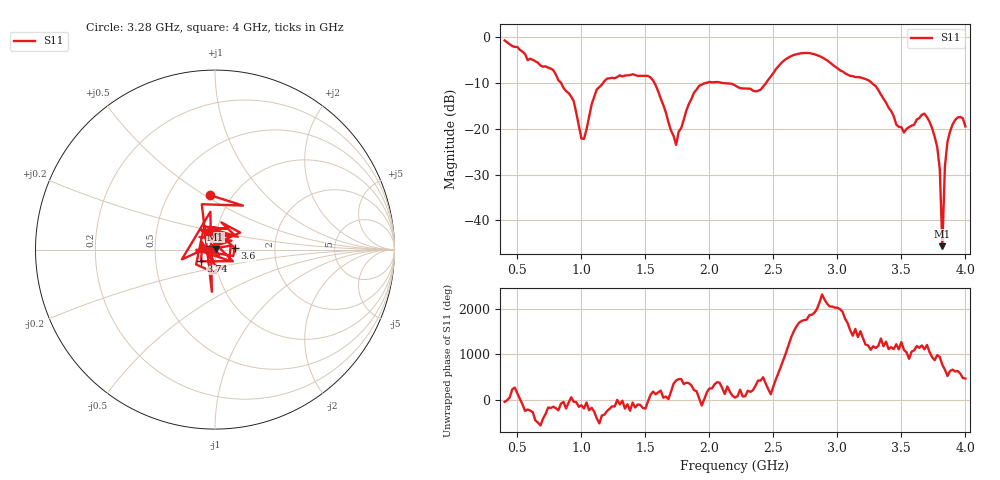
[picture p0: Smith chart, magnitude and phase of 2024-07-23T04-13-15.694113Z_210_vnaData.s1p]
!Created with skrf (http://scikit-rf.org).
# Hz S RI R 50.0
!freq ReS11 ImS11
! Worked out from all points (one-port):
!   181 points, 400 MHz to 4 GHz, reference 50 ohm
!   lowest |S11| = -45.6 dB at 3.82 GHz (marker M1), VSWR 1.01, Z = 50.3 + j0.399 ohm
!   |S11| at or under -10 dB: 1.57 GHz to 1.98 GHz (410.6 MHz wide, 23.1 % of centre); 2.092 GHz to 2.443 GHz (351 MHz wide, 15.5 % of centre); 3.268 GHz to end of sweep (the widest 3 of 4)
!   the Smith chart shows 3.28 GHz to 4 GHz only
!   S11 on the Smith chart (normalised r, x): 3.28 GHz: 0.79, +0.53; 3.6 GHz: 1.25, +0.03; 3.74 GHz: 0.85, -0.11; 4 GHz: 0.92, +0.19
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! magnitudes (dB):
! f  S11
! 400 MHz  -0.8
! 780 MHz  -7.2
! 860 MHz  -11.1
! 940 MHz  -14.0
! 1 GHz  -22.1
! 1.02 GHz  -22.2
! 1.12 GHz  -11.4
! 1.3 GHz  -8.4
! 1.54 GHz  -8.8
! 1.74 GHz  -23.5
! 1.76 GHz  -20.7
! 1.92 GHz  -10.7
! 2.2 GHz  -10.6
! 2.4 GHz  -11.5
! 2.66 GHz  -3.9
! 3.1 GHz  -8.5
! 3.28 GHz  -10.3
! 3.46 GHz  -19.1
! 3.56 GHz  -19.7
! 3.6 GHz  -19.1
! 3.68 GHz  -16.7
! 3.74 GHz  -19.9
! 3.8 GHz  -28.8
! 3.82 GHz  -45.6
! 3.84 GHz  -28.2
! 3.86 GHz  -22.8
! 3.94 GHz  -17.6
! 4 GHz  -19.5
